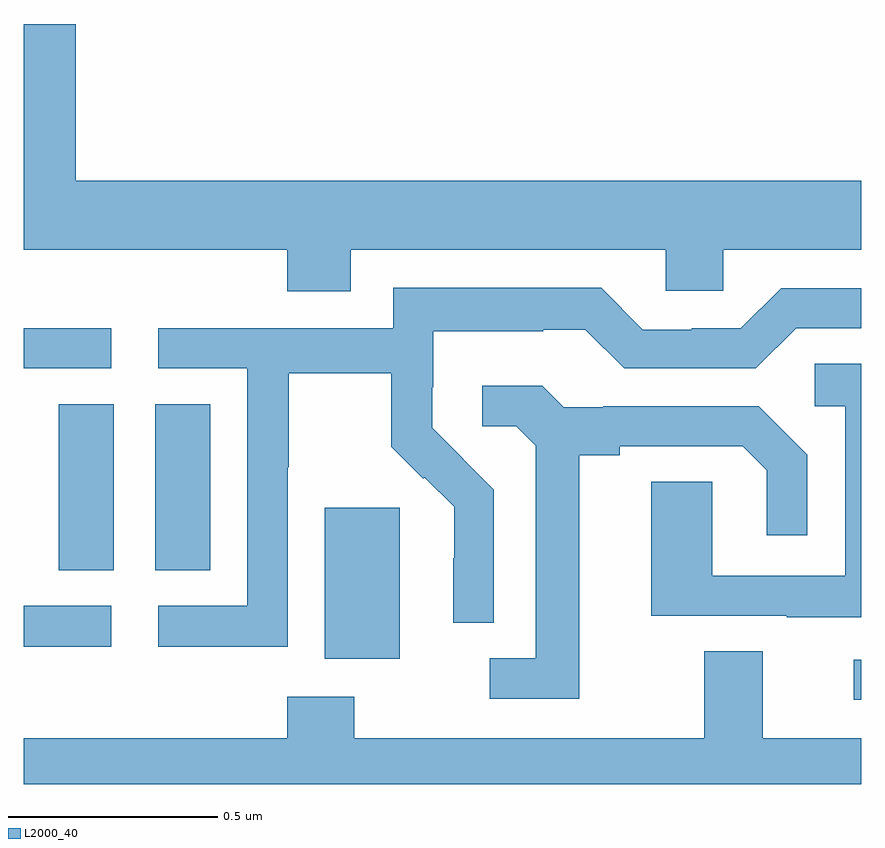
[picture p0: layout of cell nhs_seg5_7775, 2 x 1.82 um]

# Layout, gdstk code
import gdstk
lib = gdstk.Library(unit=1e-6, precision=1e-09)
def R(c, l, rs):  # rectangles x0, y0, x1, y1
    for r in rs: c.add(gdstk.rectangle(r[:2], r[2:], *l))
def P(c, l, *ps):  # polygons
    for p in ps: c.add(gdstk.Polygon(p, *l))
L2000_40 = (2000, 40)

nhs_seg5_7775 = lib.new_cell('nhs_seg5_7775')
R(nhs_seg5_7775, L2000_40, [(214.983,873,215,873.096), (213.719,873.098,213.898,873.459), (213,873.127,213.208,873.225), (213.083,873.31,213.214,873.707), (213.314,873.31,213.445,873.707), (213,873.792,213.208,873.888)])
P(nhs_seg5_7775, L2000_40, [(213.781,874.076),(214.533,874.076),(214.533,873.978),(214.671,873.978),(214.671,874.076),(215,874.076),(215,874.24),(213.124,874.24),(213.124,874.615),(213,874.615),(213,874.076),(213.629,874.076),(213.629,873.977),(213.781,873.977)],
  [(213.63,873.556),(213.633,873.556),(213.633,873.78),(213.877,873.78),(213.877,873.605),(213.954,873.528),(213.957,873.531),(214.028,873.461),(214.028,873.338),(214.026,873.338),(214.026,873.184),(214.122,873.184),(214.122,873.502),(214.049,873.575),(214.05,873.576),(213.976,873.65),(213.976,873.747),(213.978,873.747),(213.978,873.881),(214.241,873.881),(214.241,873.885),(214.341,873.885),(214.434,873.792),(214.749,873.792),(214.845,873.888),(215,873.888),(215,873.984),(214.809,873.984),(214.713,873.888),(214.595,873.888),(214.595,873.885),(214.479,873.885),(214.379,873.985),(213.882,873.985),(213.882,873.888),(213.321,873.888),(213.321,873.792),(213.534,873.792),(213.534,873.225),(213.321,873.225),(213.321,873.127),(213.63,873.127)],
  [(215,873.803),(214.89,873.803),(214.89,873.702),(214.962,873.702),(214.962,873.297),(214.644,873.297),(214.644,873.521),(214.499,873.521),(214.499,873.201),(214.823,873.201),(214.823,873.197),(215,873.197)],
  [(214.327,873.584),(214.423,873.584),(214.423,873.606),(214.718,873.606),(214.775,873.549),(214.775,873.393),(214.872,873.393),(214.872,873.586),(214.756,873.702),(214.384,873.702),(214.384,873.699),(214.29,873.699),(214.238,873.751),(214.095,873.751),(214.095,873.654),(214.176,873.654),(214.223,873.607),(214.223,873.099),(214.113,873.099),(214.113,873.003),(214.327,873.003)],
  [(215,872.908),(214.765,872.908),(214.765,873.116),(214.625,873.116),(214.625,872.908),(213.789,872.908),(213.789,873.007),(213.629,873.007),(213.629,872.908),(213,872.908),(213,872.799),(215,872.799)])

lib.write_gds('nhs_seg5_7775.gds')
